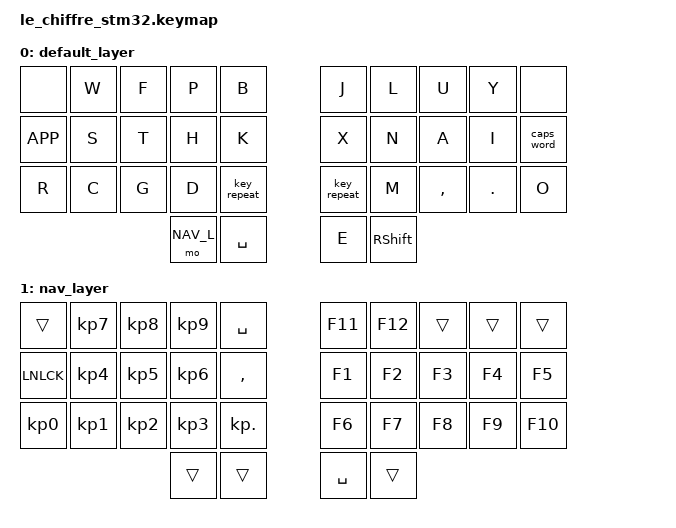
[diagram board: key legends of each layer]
/*
 * Copyright (c) 2020 The ZMK Contributors
 *
 * SPDX-License-Identifier: MIT
 */

#include <behaviors.dtsi>
#include <dt-bindings/zmk/keys.h>
#include <dt-bindings/zmk/bt.h>

#define NAV_L 1

// Using layer taps on thumbs, having quick tap as well helps w/ repeating space/backspace
&lt { quick_tap_ms = <200>; };

/ {
    behaviors {
        skq: sticky_key_quick_release {
            compatible = "zmk,behavior-sticky-key";
            label = "STICKY_KEY_QUICK_RELEASE";
            #binding-cells = <1>;
            bindings = <&kp>;
            release-after-ms = <1000>;
            quick-release;
        };
		};

    combos {
      compatible = "zmk,combos";

      //Control & Whitespace
			combo_esc_L {
			    timeout-ms = <50>;
		            key-positions = <11 12 14>;
		            bindings = <&kp ESCAPE>;
			};
			combo_esc_R {
			    timeout-ms = <50>;
		            key-positions = <15 17 18>;
		            bindings = <&kp ESCAPE>;
			};
		  combo_ent_L {
			    timeout-ms = <50>;
		            key-positions = <11 12 13>;
		            bindings = <&kp ENTER>;
			};
			combo_ent_R {
			    timeout-ms = <50>;
		            key-positions = <16 17 18>;
		            bindings = <&kp ENTER>;
			};
			combo_tab_L {
			    timeout-ms = <50>;
		            key-positions = <11 12 20>;
		            bindings = <&kp TAB>;
			};
			combo_tab_R {
			    timeout-ms = <50>;
		            key-positions = <17 18 29>;
		            bindings = <&kp TAB>;
			};

			combo_bspc_L {
			    timeout-ms = <50>;
		            key-positions = <13 14>;
		            bindings = <&kp BACKSPACE>;
			};
			combo_bspc_R {
			    timeout-ms = <50>;
		            key-positions = <15 16>;
		            bindings = <&kp BACKSPACE>;
			};

		  combo_del_L {
			    timeout-ms = <50>;
		            key-positions = <23 24>;
		            bindings = <&kp DELETE>;
			};
			combo_del_R {
			    timeout-ms = <50>;
		            key-positions = <25 26>;
		            bindings = <&kp DELETE>;
			};

			combo_pscrn {
			    timeout-ms = <50>;
		            key-positions = <3 4>;
		            bindings = <&kp PSCRN>;
			};
			combo_ins {
			    timeout-ms = <50>;
		            key-positions = <5 6>;
		            bindings = <&kp INSERT>;
			};

      //Navigation
			combo_up_L {
			    timeout-ms = <50>;
		            key-positions = <1 2>;
		            bindings = <&kp UP>;
			};
		  combo_up_R {
			    timeout-ms = <50>;
		            key-positions = <7 8>;
		            bindings = <&kp UP>;
			};
			combo_down_L {
			    timeout-ms = <50>;
		            key-positions = <1 2 13>;
		            bindings = <&kp DOWN>;
			};
		  combo_down_R {
			    timeout-ms = <50>;
		            key-positions = <7 8 16>;
		            bindings = <&kp DOWN>;
			};
			combo_right_L {
			    timeout-ms = <50>;
		            key-positions = <14 20>;
		            bindings = <&kp RIGHT>;
			};
		  combo_right_R {
			    timeout-ms = <50>;
		            key-positions = <19 29>;
		            bindings = <&kp RIGHT>;
			};
			combo_left_L {
			    timeout-ms = <50>;
		            key-positions = <10 20>;
		            bindings = <&kp LEFT>;
			};
		  combo_left_R {
			    timeout-ms = <50>;
		            key-positions = <15 29>;
		            bindings = <&kp LEFT>;
			};
		  combo_home_R {
			    timeout-ms = <50>;
		            key-positions = <5 19>;
		            bindings = <&kp HOME>;
			};
		  combo_end_L {
			    timeout-ms = <50>;
		            key-positions = <4 10>;
		            bindings = <&kp END>;
			};

		  combo_pgup_R {
			    timeout-ms = <50>;
		            key-positions = <6 7 8>;
		            bindings = <&kp PG_UP>;
			};
		  combo_pgdn_R {
			    timeout-ms = <50>;
		            key-positions = <6 19>;
		            bindings = <&kp PG_DN>;
			};

		  combo_copy_L {
			    timeout-ms = <50>;
		            key-positions = <1 2 4>;
		            bindings = <&kp LC(C)>;
			};
		  combo_paste_L {
			    timeout-ms = <50>;
		            key-positions = <1 2 3>;
		            bindings = <&kp LC(V)>;
			};

      	//PGDN PGUP

      // Modifiers
			combo_lsft {
			    timeout-ms = <50>;
		            key-positions = <11 12>;
		            bindings = <&skq LSHFT>;
			};

			combo_rsft {
			    timeout-ms = <50>;
		            key-positions = <17 18>;
		            bindings = <&skq RSHFT>;
			};
			combo_lalt {
			    timeout-ms = <50>;
		            key-positions = <20 21 22>;
		            bindings = <&kp LALT>;
			};
		  combo_ralt {
			    timeout-ms = <50>;
		            key-positions = <27 28 29>;
		            bindings = <&kp RALT>;
			};
		  combo_lctl {
			    timeout-ms = <50>;
		            key-positions = <21 22 23>;
		            bindings = <&kp LCTL>;
			};
		  combo_rctl {
			    timeout-ms = <50>;
		            key-positions = <26 27 28>;
		            bindings = <&kp RCTL>;
			};
			combo_laltctl {
			    timeout-ms = <50>;
		            key-positions = <20 24>;
		            bindings = <&kp LA(LCTL)>;
			};
		  combo_raltctl {
			    timeout-ms = <50>;
		            key-positions = <25 29>;
		            bindings = <&kp RA(RCTL)>;
			};
		  combo_lgui {
			    timeout-ms = <50>;
		            key-positions = <21 22 24>;
		            bindings = <&kp LGUI>;
			};
		  combo_rgui {
			    timeout-ms = <50>;
		            key-positions = <25 27 28>;
		            bindings = <&kp RGUI>;
			};
      	//HYP MEH

			//ALPHA SYMB NUM
      combo_q {
			    timeout-ms = <50>;
		            key-positions = <20 21>;
		            bindings = <&kp Q>;
			};
		  combo_z {
			    timeout-ms = <50>;
		            key-positions = <21 22>;
		            bindings = <&kp Z>;
			};
		  combo_v {
			    timeout-ms = <50>;
		            key-positions = <22 23>;
		            bindings = <&kp V>;
			};
		  combo_semi {
			    timeout-ms = <50>;
		            key-positions = <26 27>;
		            bindings = <&kp SEMI>;
			};
			combo_apos {
			    timeout-ms = <50>;
		            key-positions = <27 28>;
		            bindings = <&kp APOS>;
			};
			combo_fslh {
			    timeout-ms = <50>;
		            key-positions = <28 29>;
		            bindings = <&kp FSLH>;
			};
			combo_lbkt {
			    timeout-ms = <50>;
		            key-positions = <1 11>;
		            bindings = <&kp LBKT>;
			};
			combo_mins {
			    timeout-ms = <50>;
		            key-positions = <2 12>;
		            bindings = <&kp MINUS>;
			};
			combo_nine {
			    timeout-ms = <50>;
		            key-positions = <3 13>;
		            bindings = <&kp N9>;
			};
			combo_grave {
			    timeout-ms = <50>;
		            key-positions = <4 14>;
		            bindings = <&kp GRAVE>;
			};
			combo_bslh {
			    timeout-ms = <50>;
		            key-positions = <5 15>;
		            bindings = <&kp BSLH>;
			};
			combo_zero {
			    timeout-ms = <50>;
		            key-positions = <6 16>;
		            bindings = <&kp N0>;
			};
			combo_eql {
			    timeout-ms = <50>;
		            key-positions = <7 17>;
		            bindings = <&kp EQUAL>;
			};
		  combo_rbkt {
			    timeout-ms = <50>;
		            key-positions = <8 18>;
		            bindings = <&kp RBKT>;
			};
			combo_one {
			    timeout-ms = <50>;
		            key-positions = <11 21>;
		            bindings = <&kp N1>;
			};
			combo_two {
			    timeout-ms = <50>;
		            key-positions = <12 22>;
		            bindings = <&kp N2>;
			};
			combo_three {
			    timeout-ms = <50>;
		            key-positions = <13 23>;
		            bindings = <&kp N3>;
			};
			combo_four {
			    timeout-ms = <50>;
		            key-positions = <14 24>;
		            bindings = <&kp N4>;
			};
			combo_five {
			    timeout-ms = <50>;
		            key-positions = <15 25>;
		            bindings = <&kp N5>;
			};
			combo_six {
			    timeout-ms = <50>;
		            key-positions = <16 26>;
		            bindings = <&kp N6>;
			};
			combo_seven {
			    timeout-ms = <50>;
		            key-positions = <17 27>;
		            bindings = <&kp N7>;
			};
			combo_eight {
			    timeout-ms = <50>;
		            key-positions = <18 28>;
		            bindings = <&kp N8>;
			};
		};

	  keymap {
        compatible = "zmk,keymap";

        default_layer {
            bindings = <
                &none     &kp W  &kp F &kp P  &kp B         &kp J       &kp L     &kp U      &kp Y   &none
                &kp K_APP &kp S  &kp T &kp H  &kp K         &kp X       &kp N     &kp A      &kp I   &caps_word
                &kp R     &kp C  &kp G &kp D  &key_repeat   &key_repeat &kp M     &kp COMMA  &kp DOT &kp O
                                   &mo NAV_L  &kp SPACE     &kp E       &kp RSHFT
            >;
        };

        nav_layer {
            bindings = <
                &trans     &kp KP_N7 &kp KP_N8 &kp KP_N9  &kp SPC         &kp F11 &kp F12 &trans  &trans &trans
                &kp LNLCK  &kp KP_N4 &kp KP_N5 &kp KP_N6  &kp COMMA       &kp F1  &kp F2  &kp F3  &kp F4 &kp F5
                &kp KP_N0  &kp KP_N1 &kp KP_N2 &kp KP_N3  &kp KP_DOT      &kp F6  &kp F7  &kp F8  &kp F9 &kp F10
                                               &trans     &trans          &kp SPACE  &trans
            >;
        };
    };
};
